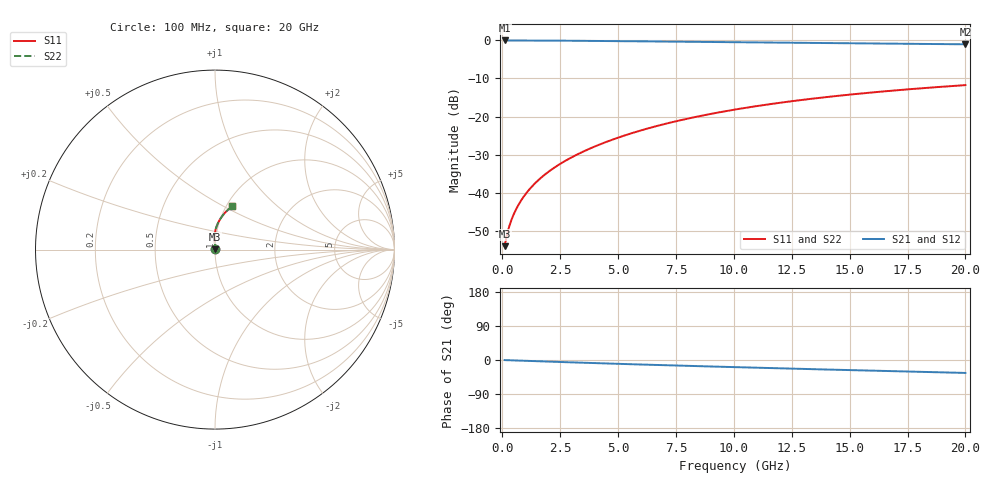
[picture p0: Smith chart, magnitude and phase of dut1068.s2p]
! Touchstone file exported from HFSS 2024.1.0
!  File:  C:/UserFiles/LocalFiles/RDL_TSV_Batchsim/temp_RDL_top_1068_1780045094.aedt
!  Generated:  05:00:33 PM May 29, 2026
!  Design:  RDL_top
!  Project:  temp_RDL_top_1068_1780045094
!  Setup:  Setup1
!  Solution:  Sweep
! Variables:
!  dtsv = 10.80580581um
!  hbump = 3um
!  htsv = 98.9um
!  ldown = 100um
!  lrdl = 512.03um
!  p = 40
!  p1 = 51.41um
!  rhole = 1um
!  t = 450um
!  tdown = 3.915915916um
!  trdl = 4.39um
!  wdown = 15.38538539um
!  wrdl = 29.32um
# GHz S MA R 50.000000
! Terminal data exported
! Port[1] = Box2_T1
! Port[2] = Box2_T2
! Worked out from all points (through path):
!   200 points, 100 MHz to 20 GHz, reference 50 ohm
!   highest |S21| = -0.01 dB at 100 MHz (marker M1); lowest = -1.0 dB at 20 GHz (marker M2)
!   group delay of S21, straight-line fit = 4.66 ps
!   lowest |S11| = -54.0 dB at 100 MHz (marker M3), VSWR 1.00, Z = 50.2 + j0.112 ohm
!   |S11| at or under -10 dB: start of sweep to end of sweep
!   |S22| runs from -54.0 to -11.7 dB; largest |S21 - S12| = 3.4e-15
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0.1  0.001989 34.3  0.9983 -0.2  0.9983 -0.2  0.001989 34.3
! Gamma 0 0 0 0
! Port Impedance 50 0 50 0
0.2  0.002786 50.4  0.9982 -0.4  0.9982 -0.4  0.002786 50.4
0.3  0.003619 58.4  0.998 -0.7  0.998 -0.7  0.00362 58.4
0.4  0.004442 63.7  0.9978 -0.9  0.9978 -0.9  0.004443 63.7
0.5  0.005266 67.7  0.9977 -1.1  0.9977 -1.1  0.005266 67.7
0.6  0.006098 70.8  0.9975 -1.3  0.9975 -1.3  0.006099 70.8
0.8  0.007801 75.4  0.9972 -1.7  0.9972 -1.7  0.007801 75.4
1.1  0.01044 80.1  0.9966 -2.3  0.9966 -2.3  0.01044 80.1
1.3  0.01226 82.3  0.9961 -2.8  0.9961 -2.8  0.01226 82.3
1.6  0.01505 84.8  0.9953 -3.4  0.9953 -3.4  0.01505 84.8
2.1  0.01989 87.7  0.9936 -4.4  0.9936 -4.4  0.01989 87.7
2.7  0.02602 90.0  0.9911 -5.6  0.9911 -5.6  0.02602 90.0
3.5  0.03476 91.8  0.9871 -7.2  0.9871 -7.2  0.03475 91.8
4.2  0.04294 92.6  0.9832 -8.6  0.9832 -8.6  0.04293 92.6
5  0.05285 92.9  0.9783 -10.1  0.9783 -10.1  0.05283 92.9
6.8  0.07692 91.8  0.9666 -13.4  0.9666 -13.4  0.0769 91.8
8.4  0.09966 89.7  0.9562 -16.1  0.9562 -16.1  0.09962 89.7
10.1  0.1244 86.8  0.9455 -18.9  0.9455 -18.9  0.1243 86.7
11.7  0.1476 83.8  0.9357 -21.5  0.9357 -21.5  0.1476 83.7
13.4  0.1719 80.5  0.9258 -24.2  0.9258 -24.2  0.1718 80.5
16.7  0.217 74.2  0.907 -29.2  0.907 -29.2  0.217 74.2
20  0.2588 68.2  0.8889 -34.1  0.8889 -34.1  0.2587 68.2
